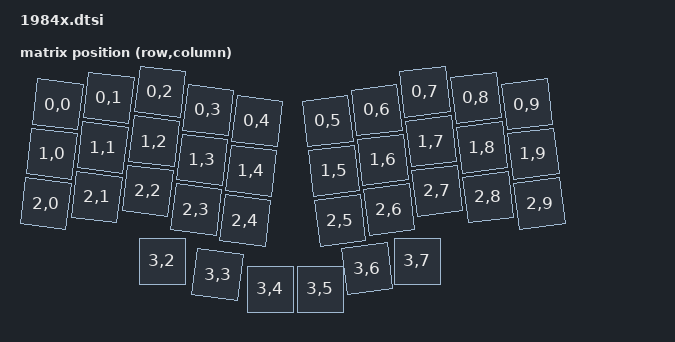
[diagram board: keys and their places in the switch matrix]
#include <dt-bindings/zmk/matrix_transform.h>
#include <physical_layouts.dtsi>

&xiao_spi { status = "disabled"; };
&xiao_serial { status = "disabled"; };


/ {
    chosen {
        zmk,physical-layout = &k1984x_layout;
        zmk,kscan = &kscan0;
    };

    k1984x_transform: keymap_transform_0 {
        compatible = "zmk,matrix-transform";
        columns = <10>;
        rows = <4>;

        map = <
RC(0,0) RC(0,1) RC(0,2) RC(0,3) RC(0,4)    RC(0,5) RC(0,6) RC(0,7) RC(0,8) RC(0,9)
RC(1,0) RC(1,1) RC(1,2) RC(1,3) RC(1,4)    RC(1,5) RC(1,6) RC(1,7) RC(1,8) RC(1,9)
RC(2,0) RC(2,1) RC(2,2) RC(2,3) RC(2,4)    RC(2,5) RC(2,6) RC(2,7) RC(2,8) RC(2,9)
                RC(3,2) RC(3,3) RC(3,4)    RC(3,5) RC(3,6) RC(3,7)
        >;
    };

    kscan0: kscan {
        compatible = "zmk,kscan-gpio-matrix";

        diode-direction = "col2row";
        wakeup-source;
    };
    
    k1984x_layout: k1984x_layout {
        compatible = "zmk,physical-layout";
        display-name = "1984x";

   		transform = <&k1984x_transform>;


        keys
			= <&key_physical_attrs 100 100 000  53   700  300 338>
			, <&key_physical_attrs 100 100 100  28   700  300 338>
			, <&key_physical_attrs 100 100 200  03   700  300 338>
			, <&key_physical_attrs 100 100 300  28   700  300 338>
			, <&key_physical_attrs 100 100 400  38   700  300 338>
			, <&key_physical_attrs 100 100 600  38 (-700) 800 338>
			, <&key_physical_attrs 100 100 700  28 (-700) 800 338>
			, <&key_physical_attrs 100 100 800  03 (-700) 800 338>
			, <&key_physical_attrs 100 100 900  28 (-700) 800 338>
			, <&key_physical_attrs 100 100 1000 53 (-700) 800 338>

			, <&key_physical_attrs 100 100 000  153   700  300 338>
			, <&key_physical_attrs 100 100 100  128   700  300 338>
			, <&key_physical_attrs 100 100 200  103   700  300 338>
			, <&key_physical_attrs 100 100 300  128   700  300 338>
			, <&key_physical_attrs 100 100 400  138   700  300 338>
			, <&key_physical_attrs 100 100 600  138 (-700) 800 338>
			, <&key_physical_attrs 100 100 700  128 (-700) 800 338>
			, <&key_physical_attrs 100 100 800  103 (-700) 800 338>
			, <&key_physical_attrs 100 100 900  128 (-700) 800 338>
			, <&key_physical_attrs 100 100 1000 153 (-700) 800 338>

			, <&key_physical_attrs 100 100 000  253   700  300 338>
			, <&key_physical_attrs 100 100 100  228   700  300 338>
			, <&key_physical_attrs 100 100 200  203   700  300 338>
			, <&key_physical_attrs 100 100 300  228   700  300 338>
			, <&key_physical_attrs 100 100 400  238   700  300 338>
			, <&key_physical_attrs 100 100 600  238 (-700) 800 338>
			, <&key_physical_attrs 100 100 700  228 (-700) 800 338>
			, <&key_physical_attrs 100 100 800  203 (-700) 800 338>
			, <&key_physical_attrs 100 100 900  228 (-700) 800 338>
			, <&key_physical_attrs 100 100 1000 253 (-700) 800 338>

			, <&key_physical_attrs 100 100 239 338 0 0 0>
			, <&key_physical_attrs 100 100 350 365 700 400 415>
			, <&key_physical_attrs 100 100 455 394 0 0 0>
			, <&key_physical_attrs 100 100 555 394 0 0 0>
			, <&key_physical_attrs 100 100 650 365 (-700) 600 415>
			, <&key_physical_attrs 100 100 749 338 0 0 0>
        ;
    };

    pos_map {
		compatible = "zmk,physical-layout-position-map";
		complete;

        k1984x {
            physical-layout = <&k1984x_layout>;
            positions
                = <0  1  2  3  4       5  6  7  8  10>
                , <11 12 13 14 15      15 16 17 18 19>
                , <20 21 22 23 24      25 26 27 28 29>
                , <      30 31 32      33 34 35      >;
        };
	};
};
